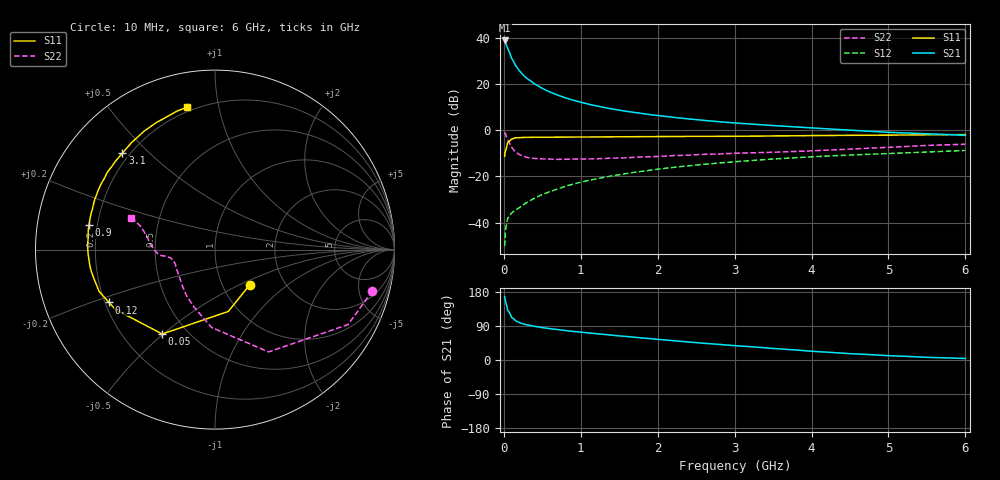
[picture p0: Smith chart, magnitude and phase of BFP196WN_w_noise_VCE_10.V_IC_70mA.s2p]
! Infineon Technologies  Discrete & RF Semiconductors
! BFP196WN
! VCE =  10. V,  IC =  70 mA
! Common Emitter S-Parameters:  Jan 2017
# GHz  S  MA  R  50
!  f  S11  S21  S12  S22
! GHz  MAG  ANG  MAG  ANG  MAG  ANG  MAG  ANG
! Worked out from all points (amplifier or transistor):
!   77 points, 10 MHz to 6 GHz, reference 50 ohm
!   highest |S21| = 38.9 dB at 10 MHz (marker M1)
!   |S21| within 3 dB of that: start of sweep to 45.32 MHz
!   unconditionally stable (mu >= 1): 583.1 MHz to 2.621 GHz
!   at 130 MHz: K = 0.58, MSG = 32.3 dB, |S12| = -35.0 dB
!   at 2.2 GHz: K = 1.02, MAG = 10.1 dB, |S12| = -16.1 dB
!   at 6 GHz: K = 0.90, MSG = 3.3 dB, |S12| = -8.7 dB
!   lowest NFmin = 1.47 dB at 450 MHz
!   S11 on the Smith chart (normalised r, x): 10 MHz: 1.34, -0.57; 50 MHz: 0.37, -0.50; 120 MHz: 0.22, -0.23; 900 MHz: 0.17, +0.09; 3.1 GHz: 0.17, +0.41; 6 GHz: 0.18, +0.81
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0.01  0.2756 -45.3  88.27 167.5  0.0031 76.0  0.9069 -14.7
0.02  0.3526 -77.9  80.59 155.4  0.0062 70.3  0.8509 -29.4
0.05  0.5544 -122.0  60.02 131.0  0.0124 53.9  0.6434 -62.4
0.1  0.647 -148.9  36.56 112.5  0.0161 49.8  0.4338 -92.6
0.12  0.6598 -153.5  32.18 109.8  0.0171 50.2  0.392 -98.7
0.15  0.6866 -160.1  25.81 104.0  0.0187 50.7  0.3399 -110.3
0.2  0.6929 -166.3  19.67 98.9  0.0212 55.2  0.2993 -122.5
0.25  0.7006 -170.4  15.89 95.4  0.0242 57.1  0.2755 -130.5
0.3  0.7035 -173.7  13.32 92.7  0.0275 59.6  0.2589 -137.4
0.4  0.7076 -178.2  10.08 88.6  0.0339 63.7  0.2456 -145.8
0.5  0.71 178.4  8.077 85.5  0.0406 66.0  0.2409 -152.0
0.6  0.7095 175.7  6.747 82.7  0.0472 67.3  0.2386 -156.4
0.7  0.7113 173.4  5.78 80.3  0.0537 68.6  0.2353 -159.2
0.9  0.7142 168.9  4.494 75.5  0.0685 69.3  0.2383 -162.9
1.1  0.7179 165.2  3.689 71.5  0.0821 69.1  0.2403 -166.0
1.3  0.7192 161.6  3.128 67.6  0.0957 68.5  0.2459 -167.3
1.5  0.7246 158.4  2.726 63.7  0.1093 67.8  0.2511 -169.7
2.1  0.7326 148.9  2.002 52.8  0.1504 64.0  0.2774 -172.3
3.1  0.7447 133.9  1.407 36.6  0.2144 56.2  0.3219 -176.4
4.1  0.7705 119.6  1.103 21.9  0.2716 47.9  0.3656 173.9
5.1  0.7894 109.0  0.892 10.7  0.3189 40.3  0.4365 162.5
6  0.8091 101.0  0.777 4.0  0.3666 34.4  0.4997 159.7
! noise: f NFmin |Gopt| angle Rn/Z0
0.45  1.47  0.57  -176  0.05
0.9  1.6  0.58  -169  0.06
1.9  2.54  0.7  -147  0.19
2.4  3.34  0.71  -139  0.32
